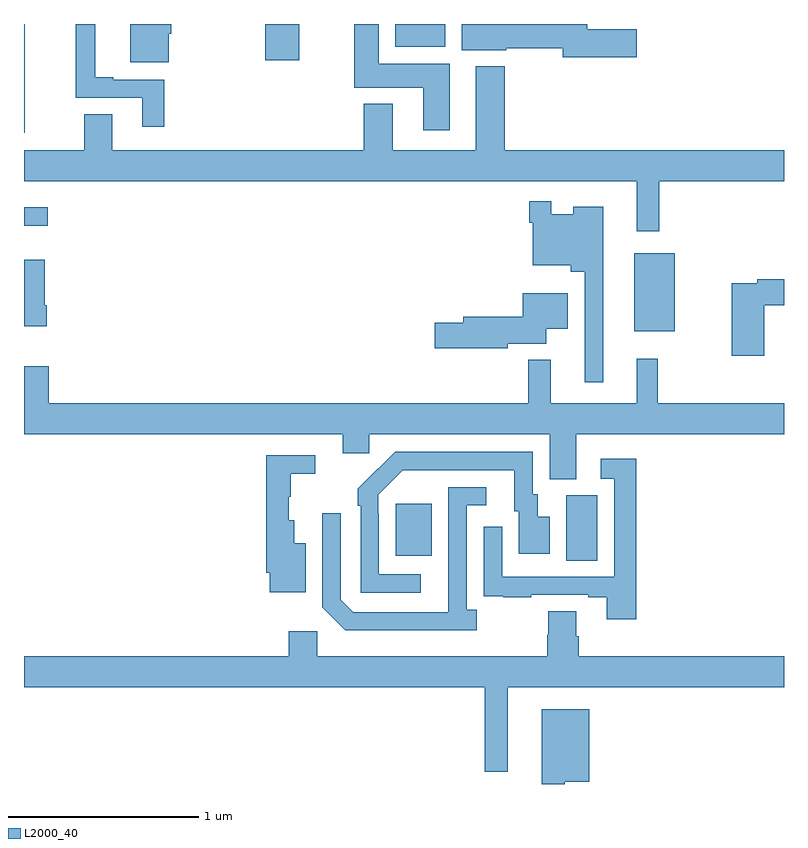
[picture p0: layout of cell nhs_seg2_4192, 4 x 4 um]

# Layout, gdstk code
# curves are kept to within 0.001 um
import gdstk
lib = gdstk.Library(unit=1e-6, precision=1e-09)
def R(c, l, rs):  # rectangles x0, y0, x1, y1
    for r in rs: c.add(gdstk.rectangle(r[:2], r[2:], *l))
def P(c, l, *ps):  # polygons
    for p in ps: c.add(gdstk.Polygon(p, *l))
L2000_40 = (2000, 40)

nhs_seg2_4192 = lib.new_cell('nhs_seg2_4192')
R(nhs_seg2_4192, L2000_40, [(339.854,642.976,340.018,643.32), (338.957,643.001,339.145,643.276), (340.211,644.183,340.426,644.593), (337,644.739,337.126,644.836), (337,645.228,337.004,645.8), (338.27,645.609,338.448,645.8), (338.954,645.68,339.217,645.8)])
P(nhs_seg2_4192, L2000_40, [(339.241,645.592),(338.866,645.592),(338.866,645.8),(338.737,645.8),(338.737,645.464),(339.101,645.464),(339.101,645.24),(339.241,645.24)],
  [(337.762,645.75),(337.775,645.75),(337.775,645.8),(337.559,645.8),(337.559,645.599),(337.762,645.599)],
  [(340.225,645.773),(339.964,645.773),(339.964,645.8),(339.305,645.8),(339.305,645.662),(339.538,645.662),(339.538,645.673),(339.836,645.673),(339.836,645.626),(340.225,645.626)],
  [(337.739,645.507),(337.471,645.507),(337.471,645.52),(337.376,645.52),(337.376,645.8),(337.273,645.8),(337.273,645.411),(337.622,645.411),(337.622,645.258),(337.739,645.258)],
  [(340.343,644.972),(341,644.972),(341,645.136),(339.53,645.136),(339.53,645.577),(339.377,645.577),(339.377,645.136),(338.941,645.136),(338.941,645.379),(338.789,645.379),(338.789,645.136),(337.465,645.136),(337.465,645.326),(337.318,645.326),(337.318,645.136),(337,645.136),(337,644.972),(340.226,644.972),(340.226,644.709),(340.343,644.709)],
  [(340.048,644.839),(339.89,644.839),(339.89,644.8),(339.774,644.8),(339.774,644.866),(339.658,644.866),(339.658,644.753),(339.678,644.753),(339.678,644.531),(339.878,644.531),(339.878,644.495),(339.951,644.495),(339.951,643.914),(340.048,643.914)],
  [(337.121,644.32),(337.108,644.32),(337.108,644.56),(337,644.56),(337,644.208),(337.121,644.208)],
  [(340.895,644.32),(341,644.32),(341,644.456),(340.858,644.456),(340.858,644.436),(340.724,644.436),(340.724,644.055),(340.895,644.055)],
  [(339.546,644.117),(339.748,644.117),(339.748,644.195),(339.862,644.195),(339.862,644.383),(339.626,644.383),(339.626,644.258),(339.311,644.258),(339.311,644.228),(339.162,644.228),(339.162,644.093),(339.546,644.093)],
  [(339.907,643.64),(341,643.64),(341,643.804),(340.336,643.804),(340.336,644.038),(340.226,644.038),(340.226,643.804),(339.773,643.804),(339.773,644.032),(339.655,644.032),(339.655,643.804),(337.13,643.804),(337.13,643.999),(337,643.999),(337,643.64),(338.678,643.64),(338.678,643.542),(338.817,643.542),(338.817,643.64),(339.767,643.64),(339.767,643.405),(339.907,643.405)],
  [(339.088,642.903),(338.868,642.903),(338.868,643.223),(338.865,643.223),(338.865,643.323),(338.994,643.452),(339.581,643.452),(339.581,643.236),(339.605,643.236),(339.605,643.011),(339.766,643.011),(339.766,643.207),(339.703,643.207),(339.703,643.326),(339.678,643.326),(339.678,643.548),(338.954,643.548),(338.757,643.353),(338.757,643.265),(338.772,643.265),(338.772,642.807),(339.088,642.807)],
  [(338.482,643.066),(338.422,643.066),(338.422,643.189),(338.393,643.189),(338.393,643.311),(338.404,643.311),(338.404,643.432),(338.533,643.432),(338.533,643.53),(338.275,643.53),(338.275,642.913),(338.294,642.913),(338.294,642.809),(338.482,642.809)],
  [(340.223,643.513),(340.035,643.513),(340.035,643.407),(340.107,643.407),(340.107,642.891),(339.516,642.891),(339.516,643.153),(339.42,643.153),(339.42,642.898),(339.421,642.898),(339.421,642.789),(339.523,642.789),(339.523,642.783),(339.671,642.783),(339.671,642.795),(339.971,642.795),(339.971,642.783),(340.067,642.783),(340.067,642.666),(340.223,642.666)],
  [(339.382,642.718),(339.33,642.718),(339.33,643.266),(339.433,643.266),(339.433,643.362),(339.234,643.362),(339.233,642.705),(338.733,642.705),(338.667,642.771),(338.667,643.225),(338.571,643.225),(338.571,642.729),(338.692,642.608),(339.382,642.608)],
  [(339.547,642.308),(341,642.308),(341,642.472),(339.92,642.472),(339.92,642.578),(339.907,642.578),(339.907,642.71),(339.76,642.71),(339.76,642.585),(339.755,642.585),(339.755,642.472),(338.544,642.472),(338.544,642.604),(338.393,642.604),(338.393,642.472),(337,642.472),(337,642.308),(339.426,642.308),(339.426,641.864),(339.547,641.864)],
  [(339.847,641.813),(339.976,641.813),(339.976,642.193),(339.725,642.193),(339.725,641.8),(339.847,641.8)])

lib.write_gds('nhs_seg2_4192.gds')
